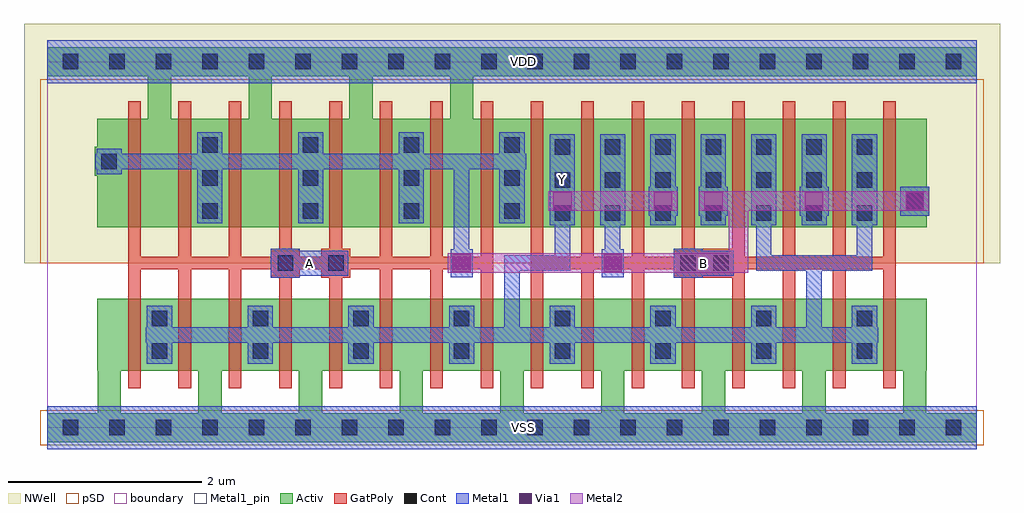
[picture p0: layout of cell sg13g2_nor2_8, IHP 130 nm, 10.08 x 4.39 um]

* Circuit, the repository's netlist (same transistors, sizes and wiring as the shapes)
.SUBCKT sg13g2_nor2_8 Y A B VDD VSS
*.PININFO A:I B:I Y:O VDD:B VSS:B
MN0 Y A VSS VSS sg13_lv_nmos w=5.92u l=130.00n ng=8
MN1 Y B VSS VSS sg13_lv_nmos w=5.92u l=130.00n ng=8
MP0 net1 A VDD VDD sg13_lv_pmos w=8.96u l=130.00n ng=8
MP1 Y B net1 VDD sg13_lv_pmos w=8.96u l=130.00n ng=8
.ENDS

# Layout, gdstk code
import gdstk
lib = gdstk.Library(unit=1e-6, precision=1e-09)
def R(c, l, rs):  # rectangles x0, y0, x1, y1
    for r in rs: c.add(gdstk.rectangle(r[:2], r[2:], *l))
def A(c, l, x, y, w, h, nx, ny, dx, dy):  # array of equal rectangles
    R(c, l, [(x+i*dx, y+j*dy, x+i*dx+w, y+j*dy+h) for i in range(nx) for j in range(ny)])
def P(c, l, *ps):  # polygons
    for p in ps: c.add(gdstk.Polygon(p, *l))
Activ = (1, 0)
GatPoly = (5, 0)
Cont = (6, 0)
Metal1 = (8, 0)
Metal1_pin = (8, 2)
Metal2 = (10, 0)
pSD = (14, 0)
Via1 = (19, 0)
NWell = (31, 0)
boundary = (189, 4)

sg13g2_nor2_8 = lib.new_cell('sg13g2_nor2_8')
P(sg13g2_nor2_8, Activ, [(0.52,0.15),(0,0.15),(0,-0.15),(9.6,-0.15),(9.6,0.15),(0.52,0.15),(0.76,0.15),(0.76,0.59),(1.56,0.59),(1.56,0.15),(1.8,0.15),(1.8,0.59),(2.6,0.59),(2.6,0.15),(2.84,0.15),(2.84,0.59),(3.64,0.59),(3.64,0.15),(3.88,0.15),(3.88,0.59),(4.68,0.59),(4.68,0.15),(4.92,0.15),(4.92,0.59),(5.72,0.59),(5.72,0.15),(5.96,0.15),(5.96,0.59),(6.76,0.59),(6.76,0.15),(7,0.15),(7,0.59),(7.8,0.59),(7.8,0.15),(8.04,0.15),(8.04,0.59),(8.84,0.59),(8.84,0.15),(9.08,0.15),(9.08,0.59),(9.085,0.59),(9.085,1.33),(0.515,1.33),(0.515,0.59),(0.52,0.59)],
  [(1.04,3.19),(1.28,3.19),(1.28,3.63),(2.08,3.63),(2.08,3.19),(2.32,3.19),(2.32,3.63),(3.12,3.63),(3.12,3.19),(3.36,3.19),(3.36,3.63),(4.16,3.63),(4.16,3.19),(4.4,3.19),(4.4,3.63),(9.6,3.63),(9.6,3.93),(0,3.93),(0,3.63),(1.04,3.63),(1.04,3.19),(0.515,3.19),(0.515,2.9),(0.49,2.9),(0.49,2.6),(0.515,2.6),(0.515,2.07),(9.085,2.07),(9.085,2.19),(9.11,2.19),(9.11,2.49),(9.085,2.49),(9.085,3.19)])
P(sg13g2_nor2_8, GatPoly, [(0.835,0.41),(0.965,0.41),(0.965,1.635),(1.355,1.635),(1.355,0.41),(1.485,0.41),(1.485,1.635),(1.875,1.635),(1.875,0.41),(2.005,0.41),(2.005,1.635),(2.31,1.635),(2.31,1.55),(2.395,1.55),(2.395,0.41),(2.525,0.41),(2.525,1.55),(2.61,1.55),(2.61,1.635),(2.83,1.635),(2.83,1.55),(2.915,1.55),(2.915,0.41),(3.045,0.41),(3.045,1.55),(3.13,1.55),(3.13,1.635),(3.435,1.635),(3.435,0.41),(3.565,0.41),(3.565,1.635),(3.955,1.635),(3.955,0.41),(4.085,0.41),(4.085,1.635),(4.475,1.635),(4.475,0.41),(4.605,0.41),(4.605,3.37),(4.475,3.37),(4.475,1.765),(4.085,1.765),(4.085,3.37),(3.955,3.37),(3.955,1.765),(3.565,1.765),(3.565,3.37),(3.435,3.37),(3.435,1.765),(3.13,1.765),(3.13,1.85),(3.045,1.85),(3.045,3.37),(2.915,3.37),(2.915,1.85),(2.83,1.85),(2.83,1.765),(2.61,1.765),(2.61,1.85),(2.525,1.85),(2.525,3.37),(2.395,3.37),(2.395,1.85),(2.31,1.85),(2.31,1.765),(2.005,1.765),(2.005,3.37),(1.875,3.37),(1.875,1.765),(1.485,1.765),(1.485,3.37),(1.355,3.37),(1.355,1.765),(0.965,1.765),(0.965,3.37),(0.835,3.37)],
  [(4.995,0.41),(5.125,0.41),(5.125,1.635),(5.515,1.635),(5.515,0.41),(5.645,0.41),(5.645,1.635),(6.035,1.635),(6.035,0.41),(6.165,0.41),(6.165,1.635),(6.47,1.635),(6.47,1.55),(6.555,1.55),(6.555,0.41),(6.685,0.41),(6.685,1.55),(7.075,1.55),(7.075,0.41),(7.205,0.41),(7.205,1.635),(7.595,1.635),(7.595,0.41),(7.725,0.41),(7.725,1.635),(8.115,1.635),(8.115,0.41),(8.245,0.41),(8.245,1.635),(8.635,1.635),(8.635,0.41),(8.765,0.41),(8.765,3.37),(8.635,3.37),(8.635,1.765),(8.245,1.765),(8.245,3.37),(8.115,3.37),(8.115,1.765),(7.725,1.765),(7.725,3.37),(7.595,3.37),(7.595,1.765),(7.205,1.765),(7.205,3.37),(7.075,3.37),(7.075,1.85),(6.685,1.85),(6.685,3.37),(6.555,3.37),(6.555,1.85),(6.47,1.85),(6.47,1.765),(6.165,1.765),(6.165,3.37),(6.035,3.37),(6.035,1.765),(5.645,1.765),(5.645,3.37),(5.515,3.37),(5.515,1.765),(5.125,1.765),(5.125,3.37),(4.995,3.37)])
A(sg13g2_nor2_8, Cont, 0.16, -0.08, 0.16, 0.16, 20, 2, 0.48, 3.78)
A(sg13g2_nor2_8, Cont, 1.08, 0.71, 0.16, 0.16, 8, 2, 1.04, 0.34)
A(sg13g2_nor2_8, Cont, 5.24, 2.14, 0.16, 0.16, 7, 3, 0.52, 0.34)
A(sg13g2_nor2_8, Cont, 1.6, 2.16, 0.16, 0.16, 4, 3, 1.04, 0.34)
R(sg13g2_nor2_8, Cont, [(2.38,1.62,2.54,1.78), (2.9,1.62,3.06,1.78), (6.54,1.62,6.7,1.78), (6.88,1.62,7.04,1.78), (8.88,2.26,9.04,2.42), (0.56,2.67,0.72,2.83)])
R(sg13g2_nor2_8, Metal1, [(0,-0.22,9.6,0.22), (8.81,2.19,9.11,2.49), (0,3.56,9.6,4)])
P(sg13g2_nor2_8, Metal1, [(0.495,2.67),(0.51,2.67),(0.51,2.62),(0.77,2.62),(0.77,2.67),(1.55,2.67),(1.55,2.11),(1.81,2.11),(1.81,2.67),(2.59,2.67),(2.59,2.11),(2.85,2.11),(2.85,2.67),(3.63,2.67),(3.63,2.11),(3.89,2.11),(3.89,2.67),(4.2,2.67),(4.2,1.845),(4.165,1.845),(4.165,1.555),(4.395,1.555),(4.395,1.845),(4.36,1.845),(4.36,2.67),(4.67,2.67),(4.67,2.11),(4.93,2.11),(4.93,2.67),(4.945,2.67),(4.945,2.83),(4.93,2.83),(4.93,3.05),(4.67,3.05),(4.67,2.83),(3.89,2.83),(3.89,3.05),(3.63,3.05),(3.63,2.83),(2.85,2.83),(2.85,3.05),(2.59,3.05),(2.59,2.83),(1.81,2.83),(1.81,3.05),(1.55,3.05),(1.55,2.83),(0.77,2.83),(0.77,2.88),(0.51,2.88),(0.51,2.83),(0.495,2.83)],
  [(1.015,0.88),(1.03,0.88),(1.03,0.66),(1.29,0.66),(1.29,0.88),(2.07,0.88),(2.07,0.66),(2.33,0.66),(2.33,0.88),(3.11,0.88),(3.11,0.66),(3.37,0.66),(3.37,0.88),(4.15,0.88),(4.15,0.66),(4.41,0.66),(4.41,0.88),(5.19,0.88),(5.19,0.66),(5.45,0.66),(5.45,0.88),(6.23,0.88),(6.23,0.66),(6.49,0.66),(6.49,0.88),(7.27,0.88),(7.27,0.66),(7.53,0.66),(7.53,0.88),(8.31,0.88),(8.31,0.66),(8.57,0.66),(8.57,0.88),(8.585,0.88),(8.585,1.04),(8.57,1.04),(8.57,1.26),(8.31,1.26),(8.31,1.04),(8,1.04),(8,1.62),(8.52,1.62),(8.52,2.09),(8.57,2.09),(8.57,3.03),(8.31,3.03),(8.31,2.09),(8.36,2.09),(8.36,1.78),(7.48,1.78),(7.48,2.09),(7.53,2.09),(7.53,3.03),(7.27,3.03),(7.27,2.09),(7.32,2.09),(7.32,1.62),(7.84,1.62),(7.84,1.04),(7.53,1.04),(7.53,1.26),(7.27,1.26),(7.27,1.04),(6.49,1.04),(6.49,1.26),(6.23,1.26),(6.23,1.04),(5.45,1.04),(5.45,1.26),(5.19,1.26),(5.19,1.04),(4.88,1.04),(4.88,1.62),(5.4,1.62),(5.4,2.09),(5.45,2.09),(5.45,3.03),(5.19,3.03),(5.19,2.09),(5.24,2.09),(5.24,1.78),(4.72,1.78),(4.72,1.04),(4.41,1.04),(4.41,1.26),(4.15,1.26),(4.15,1.04),(3.37,1.04),(3.37,1.26),(3.11,1.26),(3.11,1.04),(2.33,1.04),(2.33,1.26),(2.07,1.26),(2.07,1.04),(1.29,1.04),(1.29,1.26),(1.03,1.26),(1.03,1.04),(1.015,1.04)],
  [(2.31,1.55),(2.61,1.55),(2.61,1.57),(3.11,1.57),(3.11,1.83),(2.61,1.83),(2.61,1.85),(2.31,1.85)],
  [(5.71,2.09),(5.76,2.09),(5.76,1.845),(5.725,1.845),(5.725,1.555),(5.955,1.555),(5.955,1.845),(5.92,1.845),(5.92,2.09),(5.97,2.09),(5.97,3.03),(5.71,3.03)],
  [(6.21,2.19),(6.23,2.19),(6.23,2.09),(6.49,2.09),(6.49,2.19),(6.51,2.19),(6.51,2.49),(6.49,2.49),(6.49,3.03),(6.23,3.03),(6.23,2.49),(6.21,2.49)],
  [(6.47,1.55),(6.77,1.55),(6.77,1.57),(7.09,1.57),(7.09,1.83),(6.77,1.83),(6.77,1.85),(6.47,1.85)],
  [(6.73,2.19),(6.75,2.19),(6.75,2.09),(7.01,2.09),(7.01,2.19),(7.03,2.19),(7.03,2.49),(7.01,2.49),(7.01,3.03),(6.75,3.03),(6.75,2.49),(6.73,2.49)],
  [(7.77,2.19),(7.79,2.19),(7.79,2.09),(8.05,2.09),(8.05,2.19),(8.07,2.19),(8.07,2.49),(8.05,2.49),(8.05,3.03),(7.79,3.03),(7.79,2.49),(7.77,2.49)])
R(sg13g2_nor2_8, Metal1_pin, [(0,-0.22,9.6,0.22), (2.31,1.57,3.11,1.83), (6.47,1.57,7.09,1.83), (5.19,2.09,5.45,3.03), (0,3.56,9.6,4)])
R(sg13g2_nor2_8, Metal2, [(5.175,2.24,6.505,2.44)])
P(sg13g2_nor2_8, Metal2, [(4.135,1.6),(7.24,1.6),(7.24,2.24),(9.105,2.24),(9.105,2.44),(6.735,2.44),(6.735,2.24),(7.04,2.24),(7.04,1.8),(4.135,1.8)])
R(sg13g2_nor2_8, pSD, [(-0.07,-0.18,9.67,0.18), (-0.07,1.7,9.67,3.6)])
A(sg13g2_nor2_8, Via1, 6.785, 2.245, 0.19, 0.19, 3, 1, 1.04, 0)
R(sg13g2_nor2_8, Via1, [(4.185,1.605,4.375,1.795), (5.745,1.605,5.935,1.795), (5.225,2.245,5.415,2.435), (6.265,2.245,6.455,2.435)])
R(sg13g2_nor2_8, NWell, [(-0.24,1.7,9.84,4.17)])
R(sg13g2_nor2_8, boundary, [(0,0,9.6,3.78)])
sg13g2_nor2_8.add(gdstk.Label('A', (2.71,1.7), layer=8, texttype=25))
sg13g2_nor2_8.add(gdstk.Label('Y', (5.32,2.56), layer=8, texttype=25))
sg13g2_nor2_8.add(gdstk.Label('B', (6.78,1.7), layer=8, texttype=25))
sg13g2_nor2_8.add(gdstk.Label('VSS', (4.92,0), layer=8, texttype=25))
sg13g2_nor2_8.add(gdstk.Label('VDD', (4.92,3.78), layer=8, texttype=25))

lib.write_gds('sg13g2_nor2_8.gds')
